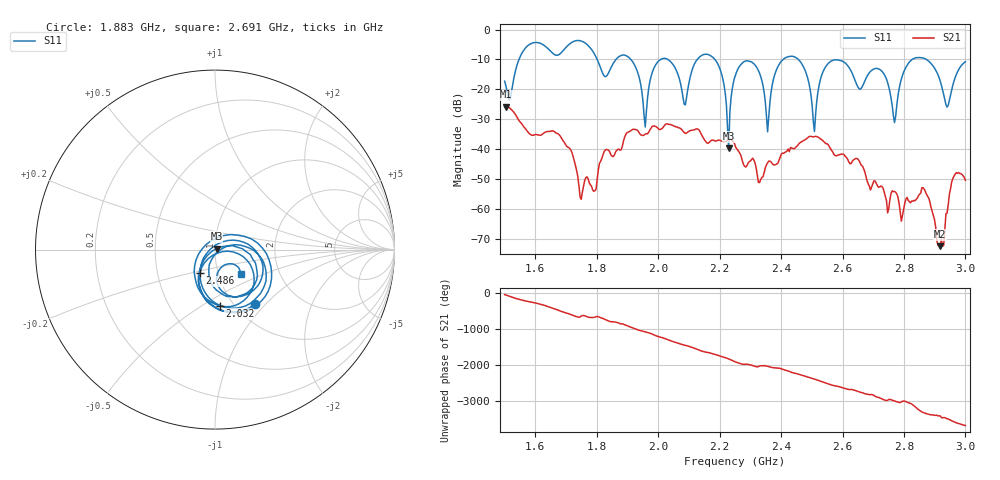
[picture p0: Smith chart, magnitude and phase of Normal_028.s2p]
# HZ S RI R 50
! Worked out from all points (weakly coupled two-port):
!   404 points, 1.5 GHz to 3 GHz, reference 50 ohm
!   highest |S21| = -25.85 dB at 1.504 GHz (marker M1); lowest = -72.5 dB at 2.918 GHz (marker M2)
!   lowest |S11| = -39.8 dB at 2.23 GHz (marker M3), VSWR 1.02, Z = 50.8 + j0.599 ohm
!   |S11| at or under -10 dB: 2.185 GHz to 2.407 GHz (222 MHz wide, 9.67 % of centre); 2.456 GHz to 2.827 GHz (370.2 MHz wide, 14 % of centre); 2.873 GHz to end of sweep (the widest 3 of 7)
!   S12 and S22 are empty: the file has one direction only
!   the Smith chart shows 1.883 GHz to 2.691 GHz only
!   S11 on the Smith chart (normalised r, x): 1.883 GHz: 1.23, -0.87; 2.032 GHz: 0.86, -0.60; 2.486 GHz: 0.82, -0.22; 2.691 GHz: 1.28, -0.37
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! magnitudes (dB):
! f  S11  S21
! 1.5 GHz  -17.3  -25.9
! 1.504 GHz  -18.6  -25.8
! 1.753 GHz  -4.0  -54.4
! 1.883 GHz  -8.5  -39.0
! 1.958 GHz  -32.6  -35.0
! 2.002 GHz  -10.4  -33.4
! 2.032 GHz  -10.1  -31.7
! 2.088 GHz  -25.2  -34.7
! 2.181 GHz  -9.6  -37.1
! 2.23 GHz  -39.8  -36.8
! 2.252 GHz  -15.1  -39.3
! 2.315 GHz  -11.9  -44.6
! 2.356 GHz  -34.2  -44.6
! 2.408 GHz  -9.8  -41.5
! 2.486 GHz  -16.1  -36.3
! 2.501 GHz  -25.5  -35.9
! 2.561 GHz  -10.7  -39.9
! 2.691 GHz  -14.0  -53.7
! 2.751 GHz  -19.2  -59.9
! 2.866 GHz  -9.6  -53.5
! 2.918 GHz  -17.3  -72.5
! 3 GHz  -10.7  -50.5
